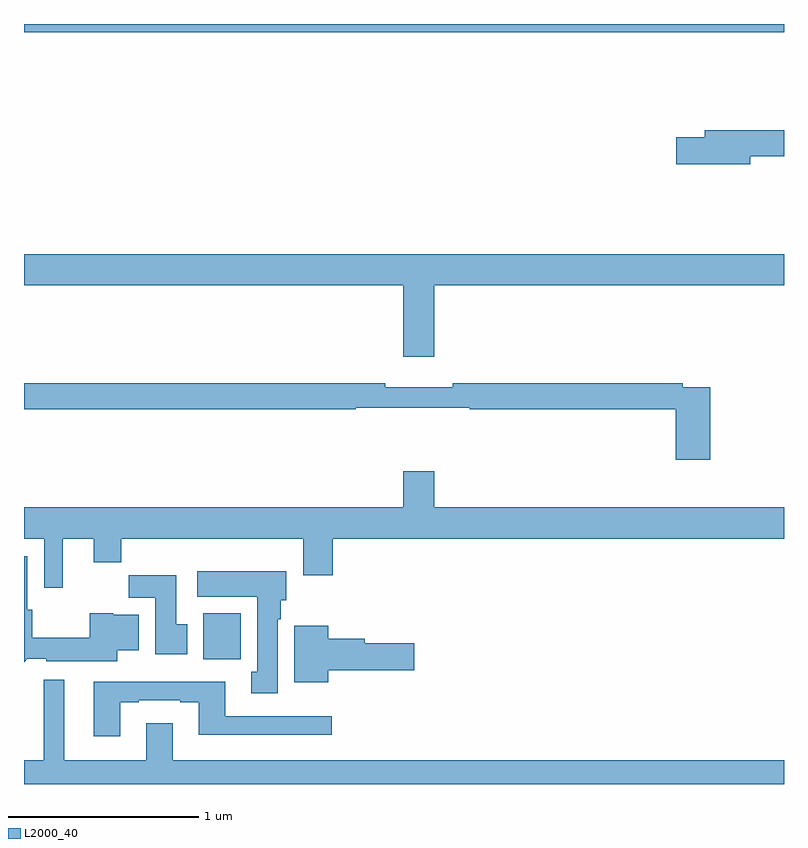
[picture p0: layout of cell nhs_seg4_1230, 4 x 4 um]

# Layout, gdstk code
import gdstk
lib = gdstk.Library(unit=1e-6, precision=1e-09)
def R(c, l, rs):  # rectangles x0, y0, x1, y1
    for r in rs: c.add(gdstk.rectangle(r[:2], r[2:], *l))
def P(c, l, *ps):  # polygons
    for p in ps: c.add(gdstk.Polygon(p, *l))
L2000_40 = (2000, 40)

nhs_seg4_1230 = lib.new_cell('nhs_seg4_1230')
R(nhs_seg4_1230, L2000_40, [(175.943,757.556,176.14,757.798), (175,760.856,179,760.9)])
P(nhs_seg4_1230, L2000_40, [(178.822,760.204),(179,760.204),(179,760.34),(178.583,760.34),(178.583,760.304),(178.434,760.304),(178.434,760.162),(178.822,760.162)],
  [(177.16,759.524),(179,759.524),(179,759.688),(175,759.688),(175,759.524),(176.996,759.524),(176.996,759.15),(177.16,759.15)],
  [(178.613,758.988),(178.466,758.988),(178.466,759.008),(177.256,759.008),(177.256,758.989),(176.9,758.989),(176.9,759.008),(175,759.008),(175,758.872),(176.746,758.872),(176.746,758.88),(177.346,758.88),(177.346,758.872),(178.43,758.872),(178.43,758.607),(178.613,758.607)],
  [(175.204,758.192),(175.367,758.192),(175.367,758.068),(175.511,758.068),(175.511,758.192),(176.471,758.192),(176.471,757.998),(176.624,757.998),(176.624,758.192),(179,758.192),(179,758.356),(177.16,758.356),(177.16,758.545),(176.996,758.545),(176.996,758.356),(175,758.356),(175,758.192),(175.107,758.192),(175.107,757.932),(175.204,757.932)],
  [(175.017,757.559),(175.116,757.559),(175.116,757.547),(175.492,757.547),(175.492,757.604),(175.603,757.604),(175.603,757.792),(175.47,757.792),(175.47,757.798),(175.345,757.798),(175.345,757.669),(175.044,757.669),(175.044,757.818),(175.018,757.818),(175.018,758.098),(175,758.098),(175,757.542)],
  [(176.335,757.766),(176.35,757.766),(176.35,757.866),(176.38,757.866),(176.38,758.02),(175.911,758.02),(175.911,757.886),(176.228,757.886),(176.228,757.49),(176.195,757.49),(176.195,757.377),(176.335,757.377)],
  [(175.858,757.74),(175.801,757.74),(175.801,757.999),(175.552,757.999),(175.552,757.88),(175.691,757.88),(175.691,757.584),(175.858,757.584)],
  [(176.602,757.498),(177.055,757.498),(177.055,757.64),(176.794,757.64),(176.794,757.665),(176.602,757.665),(176.602,757.732),(176.423,757.732),(176.423,757.436),(176.602,757.436)],
  [(179,757.024),(175.783,757.024),(175.783,757.219),(175.643,757.219),(175.643,757.024),(175.213,757.024),(175.213,757.45),(175.103,757.45),(175.103,757.024),(175,757.024),(175,756.9),(179,756.9)],
  [(175.507,757.329),(175.603,757.329),(175.603,757.341),(175.823,757.341),(175.823,757.329),(175.919,757.329),(175.919,757.16),(176.62,757.16),(176.62,757.257),(176.059,757.257),(176.059,757.438),(175.367,757.438),(175.367,757.152),(175.507,757.152)])

lib.write_gds('nhs_seg4_1230.gds')
